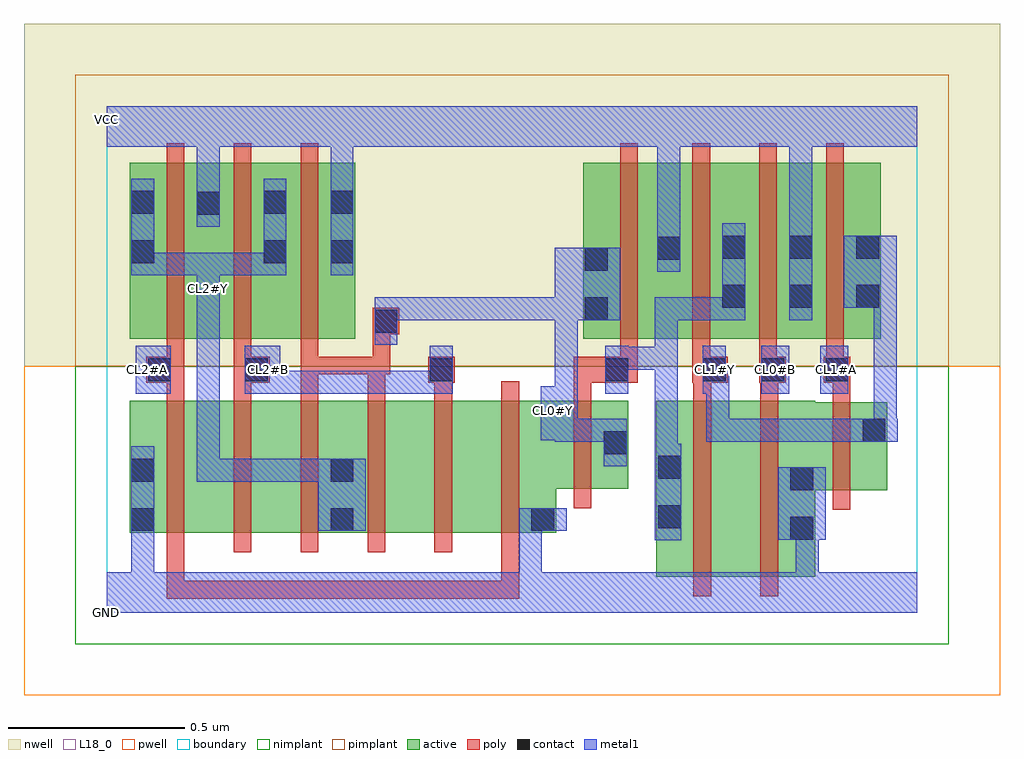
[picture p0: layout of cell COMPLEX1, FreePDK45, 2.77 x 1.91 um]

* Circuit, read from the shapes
.subckt COMPLEX1 CL0#B CL0#Y CL1#A CL1#Y CL2#A CL2#B CL2#Y GND VCC
M1 n1 CL2#A GND VSUBS nfet w=0.375u l=0.05u
M2 n2 CL2#B n1 VSUBS nfet w=0.375u l=0.05u
M3 CL2#Y CL0#Y n2 VSUBS nfet w=0.375u l=0.05u
M4 n3 CL0#Y CL2#Y VSUBS nfet w=0.375u l=0.05u
M5 n4 CL2#B n3 VSUBS nfet w=0.375u l=0.05u
M6 GND CL2#A n4 VSUBS nfet w=0.375u l=0.05u
M7 CL0#Y n5 GND VSUBS nfet w=0.25u l=0.05u
M8 n6 CL1#Y n5 VSUBS nfet w=0.5u l=0.05u
M9 GND CL0#B n6 VSUBS nfet w=0.5u l=0.05u
M10 CL1#Y CL1#A GND VSUBS nfet w=0.25u l=0.05u
M11 VCC CL2#A CL2#Y n7 pfet w=0.5u l=0.05u
M12 CL2#Y CL2#B VCC n7 pfet w=0.5u l=0.05u
M13 VCC CL0#Y CL2#Y n7 pfet w=0.5u l=0.05u
M14 VCC n5 CL0#Y n7 pfet w=0.5u l=0.05u
M15 n5 CL1#Y VCC n7 pfet w=0.5u l=0.05u
M16 VCC CL0#B n5 n7 pfet w=0.5u l=0.05u
M17 CL1#Y CL1#A VCC n7 pfet w=0.5u l=0.05u
.ends

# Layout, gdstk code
import gdstk
lib = gdstk.Library(unit=1e-6, precision=1e-09)
def R(c, l, rs):  # rectangles x0, y0, x1, y1
    for r in rs: c.add(gdstk.rectangle(r[:2], r[2:], *l))
def A(c, l, x, y, w, h, nx, ny, dx, dy):  # array of equal rectangles
    R(c, l, [(x+i*dx, y+j*dy, x+i*dx+w, y+j*dy+h) for i in range(nx) for j in range(ny)])
active = (1, 0)
pwell = (2, 0)
nwell = (3, 0)
nimplant = (4, 0)
pimplant = (5, 0)
poly = (9, 0)
contact = (10, 0)
metal1 = (11, 0)
L18_0 = (18, 0)
boundary = (235, 0)

complex1 = lib.new_cell('COMPLEX1')
R(complex1, active, [(1.56,0.102,1.785,0.602), (1.785,0.102,2.01,0.602), (1.935,0.102,2.01,0.5), (1.56,0.145,1.665,0.602), (0.065,0.227,0.29,0.602), (0.065,0.227,0.14,0.602), (0.29,0.227,0.48,0.602), (0.48,0.227,0.705,0.602), (0.63,0.227,0.86,0.602), (0.63,0.227,0.705,0.592), (0.86,0.227,1.05,0.602), (1.05,0.227,1.275,0.602), (1.2,0.227,1.275,0.535), (1.935,0.347,2.215,0.597), (2.14,0.347,2.215,0.597), (1.2,0.352,1.48,0.602), (1.405,0.352,1.48,0.602), (0.065,0.777,0.14,1.237), (0.065,0.777,0.325,1.277), (0.25,0.777,0.515,1.277), (0.44,0.777,0.515,1.237), (0.44,0.777,0.705,1.277), (0.63,0.777,0.705,1.267), (1.352,0.777,1.427,1.237), (1.352,0.777,1.632,1.277), (1.557,0.777,1.817,1.277), (1.742,0.777,2.007,1.277), (1.932,0.777,2.197,1.277), (1.932,0.777,2.007,1.255), (2.122,0.777,2.197,1.237), (0.25,0.845,0.325,1.255), (1.557,0.845,1.632,1.255), (1.742,0.845,1.817,1.237)])
R(complex1, pwell, [(-0.235,-0.235,2.535,0.7)])
R(complex1, nwell, [(-0.235,0.7,2.535,1.672)])
R(complex1, nimplant, [(-0.09,-0.09,2.39,0.7)])
R(complex1, pimplant, [(-0.09,0.7,2.39,1.527)])
A(complex1, poly, 0.17, 0.172, 0.05, 0.485, 6, 1, 0.19, 0)
A(complex1, poly, 0.17, 0.677, 0.05, 0.095, 3, 1, 0.19, 0)
A(complex1, poly, 1.662, 0.677, 0.05, 0.095, 3, 1, 0.19, 0)
A(complex1, poly, 0.17, 0.722, 0.05, 0.61, 3, 1, 0.19, 0)
A(complex1, poly, 1.662, 0.722, 0.05, 0.61, 3, 1, 0.19, 0)
R(complex1, poly, [(0.17,0.04,0.22,0.222), (0.17,0.04,0.22,0.09), (0.17,0.04,0.22,0.09), (0.17,0.04,0.22,0.09), (0.17,0.04,0.352,0.09), (0.302,0.04,0.352,0.09), (0.302,0.04,0.352,0.09), (0.302,0.04,0.352,0.09), (0.302,0.04,0.595,0.09), (0.545,0.04,0.595,0.09), (0.545,0.04,0.595,0.09), (0.545,0.04,0.595,0.09), (0.545,0.04,0.83,0.09), (0.78,0.04,0.83,0.09), (0.78,0.04,0.83,0.09), (0.78,0.04,0.83,0.09), (0.78,0.04,0.962,0.09), (0.912,0.04,0.962,0.09), (0.912,0.04,1.17,0.09), (1.12,0.04,1.17,0.222), (1.12,0.04,1.17,0.09), (1.12,0.04,1.17,0.09), (1.12,0.04,1.17,0.09), (1.665,0.047,1.715,0.657), (1.855,0.047,1.905,0.657), (2.06,0.292,2.11,0.652), (1.325,0.297,1.375,0.657), (2.06,0.602,2.11,0.702), (0.17,0.607,0.22,0.702), (0.36,0.607,0.41,0.702), (0.55,0.607,0.6,0.727), (0.74,0.607,0.79,0.727), (0.93,0.607,0.98,0.702), (1.325,0.607,1.375,0.702), (1.665,0.607,1.715,0.702), (1.855,0.607,1.905,0.702), (0.112,0.652,0.22,0.727), (0.36,0.652,0.462,0.727), (0.912,0.652,0.987,0.727), (1.325,0.652,1.507,0.727), (1.662,0.652,1.762,0.727), (1.852,0.652,1.927,0.727), (2.035,0.652,2.11,0.727), (0.55,0.677,0.6,0.727), (0.55,0.677,0.6,0.727), (0.55,0.677,0.6,0.727), (0.55,0.677,0.79,0.727), (0.74,0.677,0.805,0.727), (0.755,0.677,0.805,0.727), (0.755,0.677,0.805,0.727), (0.755,0.677,0.805,0.84), (1.457,0.677,1.507,0.772), (1.457,0.722,1.507,1.332), (0.755,0.79,0.83,0.865)])
A(complex1, contact, 1.747, 0.865, 0.065, 0.065, 3, 2, 0.19, 0.14)
R(complex1, contact, [(1.94,0.207,2.005,0.272), (0.07,0.232,0.135,0.297), (0.635,0.232,0.7,0.297), (1.205,0.232,1.27,0.297), (1.565,0.24,1.63,0.305), (1.94,0.347,2.005,0.412), (0.07,0.372,0.135,0.437), (0.635,0.372,0.7,0.437), (1.565,0.38,1.63,0.445), (1.41,0.45,1.475,0.515), (2.145,0.485,2.21,0.55), (0.117,0.657,0.182,0.722), (0.392,0.657,0.457,0.722), (0.917,0.657,0.982,0.722), (1.415,0.657,1.48,0.722), (1.692,0.657,1.757,0.722), (1.857,0.657,1.922,0.722), (2.04,0.657,2.105,0.722), (0.76,0.795,0.825,0.86), (1.357,0.83,1.422,0.895), (1.357,0.97,1.422,1.035), (0.07,0.992,0.135,1.057), (0.445,0.992,0.51,1.057), (0.635,0.992,0.7,1.057), (1.562,1.002,1.627,1.067), (0.255,1.13,0.32,1.195), (0.07,1.132,0.135,1.197), (0.445,1.132,0.51,1.197), (0.635,1.132,0.7,1.197)])
R(complex1, metal1, [(0,0,2.3,0.115), (0.07,0.05,0.135,0.115), (0.07,0.05,0.135,0.115), (0.07,0.05,0.135,0.262), (1.17,0.05,1.235,0.115), (1.17,0.05,1.235,0.115), (1.17,0.05,1.235,0.297), (1.955,0.05,2.02,0.115), (1.955,0.05,2.02,0.115), (1.955,0.05,2.02,0.272), (0.07,0.197,0.135,0.262), (0.07,0.197,0.135,0.262), (0.07,0.197,0.135,0.472), (1.555,0.205,1.63,0.48), (1.905,0.207,2.04,0.412), (0.6,0.232,0.735,0.437), (1.17,0.232,1.235,0.297), (1.17,0.232,1.235,0.297), (1.17,0.232,1.305,0.297), (0.255,0.372,0.32,0.437), (0.255,0.372,0.527,0.437), (0.255,0.372,0.32,0.917), (0.462,0.372,0.527,0.437), (0.462,0.372,0.527,0.437), (0.462,0.372,0.527,0.437), (0.462,0.372,0.665,0.437), (0.6,0.372,0.665,0.437), (0.6,0.372,0.665,0.437), (1.41,0.415,1.475,0.55), (1.555,0.415,1.62,0.755), (1.272,0.485,1.475,0.55), (1.272,0.485,1.337,0.555), (1.41,0.485,1.475,0.55), (1.41,0.485,1.475,0.55), (1.702,0.485,1.767,0.55), (1.702,0.485,1.952,0.55), (1.702,0.485,1.767,0.687), (1.887,0.485,1.952,0.55), (1.887,0.485,1.952,0.55), (1.887,0.485,1.952,0.55), (1.887,0.485,2.175,0.55), (2.11,0.485,2.175,0.55), (2.11,0.485,2.175,0.55), (2.11,0.485,2.245,0.55), (2.177,0.485,2.242,0.93), (1.232,0.49,1.337,0.642), (1.272,0.49,1.337,0.555), (1.272,0.577,1.337,0.895), (0.082,0.622,0.182,0.757), (0.392,0.622,0.492,0.757), (0.427,0.622,0.492,0.687), (0.427,0.622,0.492,0.687), (0.427,0.622,0.665,0.687), (0.6,0.622,0.665,0.687), (0.6,0.622,0.665,0.687), (0.6,0.622,0.665,0.687), (0.6,0.622,0.845,0.687), (0.78,0.622,0.845,0.687), (0.78,0.622,0.845,0.687), (0.78,0.622,0.845,0.687), (0.78,0.622,0.982,0.687), (0.917,0.622,0.982,0.757), (1.415,0.622,1.48,0.757), (1.692,0.622,1.767,0.687), (1.692,0.622,1.757,0.757), (1.702,0.622,1.767,0.687), (1.857,0.622,1.937,0.757), (2.025,0.622,2.105,0.757), (1.415,0.69,1.515,0.755), (1.45,0.69,1.515,0.755), (1.45,0.69,1.62,0.755), (1.555,0.69,1.62,0.755), (1.555,0.69,1.62,0.895), (0.76,0.76,0.825,0.895), (0.76,0.83,0.825,0.895), (0.76,0.83,0.825,0.895), (0.76,0.83,0.825,0.895), (0.76,0.83,0.825,0.895), (0.76,0.83,1.097,0.895), (1.032,0.83,1.097,0.895), (1.032,0.83,1.097,0.895), (1.032,0.83,1.097,0.895), (1.032,0.83,1.337,0.895), (1.272,0.83,1.337,0.895), (1.272,0.83,1.337,0.895), (1.272,0.83,1.457,1.035), (1.555,0.83,1.62,0.895), (1.555,0.83,1.652,0.895), (1.587,0.83,1.652,0.895), (1.587,0.83,1.812,0.895), (1.747,0.83,1.812,1.105), (1.937,0.83,2.002,1.105), (0.255,0.852,0.32,0.987), (2.092,0.865,2.242,1.07), (2.177,0.865,2.242,0.93), (2.177,0.865,2.242,0.93), (0.255,0.922,0.32,1.022), (0.07,0.957,0.135,1.232), (0.07,0.957,0.3,1.022), (0.235,0.957,0.32,1.022), (0.255,0.957,0.32,1.022), (0.255,0.957,0.32,1.022), (0.255,0.957,0.51,1.022), (0.445,0.957,0.51,1.022), (0.445,0.957,0.51,1.022), (0.445,0.957,0.51,1.232), (0.635,0.957,0.7,1.232), (1.562,0.967,1.627,1.102), (1.562,1.037,1.627,1.387), (1.937,1.04,2.002,1.105), (1.937,1.04,2.002,1.105), (1.937,1.04,2.002,1.387), (0.255,1.095,0.32,1.23), (0.255,1.165,0.32,1.387), (0.635,1.167,0.7,1.387), (0,1.322,2.3,1.437), (0.255,1.322,0.32,1.387), (0.255,1.322,0.32,1.387), (0.635,1.322,0.7,1.387), (0.635,1.322,0.7,1.387), (1.562,1.322,1.627,1.387), (1.562,1.322,1.627,1.387)])
R(complex1, L18_0, [(0,0,2.3,0.115), (0.07,0.05,0.135,0.115), (0.07,0.05,0.135,0.115), (0.07,0.05,0.135,0.262), (1.17,0.05,1.235,0.115), (1.17,0.05,1.235,0.115), (1.17,0.05,1.235,0.297), (1.955,0.05,2.02,0.115), (1.955,0.05,2.02,0.115), (1.955,0.05,2.02,0.272), (0.07,0.197,0.135,0.262), (0.07,0.197,0.135,0.262), (0.07,0.197,0.135,0.472), (1.905,0.207,2.04,0.412), (0.6,0.232,0.735,0.437), (1.17,0.232,1.235,0.297), (1.17,0.232,1.235,0.297), (1.17,0.232,1.305,0.297), (0.255,0.372,0.32,0.437), (0.255,0.372,0.32,0.917), (0.255,0.372,0.527,0.437), (0.462,0.372,0.527,0.437), (0.462,0.372,0.527,0.437), (0.462,0.372,0.527,0.437), (0.462,0.372,0.665,0.437), (0.6,0.372,0.665,0.437), (0.6,0.372,0.665,0.437), (1.41,0.415,1.475,0.55), (1.272,0.485,1.475,0.55), (1.272,0.485,1.337,0.555), (1.41,0.485,1.475,0.55), (1.41,0.485,1.475,0.55), (1.702,0.485,1.767,0.55), (1.702,0.485,1.767,0.687), (1.702,0.485,1.952,0.55), (1.887,0.485,1.952,0.55), (1.887,0.485,1.952,0.55), (1.887,0.485,1.952,0.55), (1.887,0.485,2.175,0.55), (2.11,0.485,2.175,0.55), (2.11,0.485,2.175,0.55), (2.11,0.485,2.245,0.55), (2.177,0.485,2.242,0.93), (1.232,0.49,1.337,0.642), (1.272,0.49,1.337,0.555), (1.232,0.542,1.297,0.607), (1.272,0.577,1.337,0.895), (0.082,0.622,0.182,0.757), (0.392,0.622,0.492,0.757), (0.427,0.622,0.492,0.687), (0.427,0.622,0.492,0.687), (0.427,0.622,0.665,0.687), (0.6,0.622,0.665,0.687), (0.6,0.622,0.665,0.687), (0.6,0.622,0.665,0.687), (0.6,0.622,0.845,0.687), (0.78,0.622,0.845,0.687), (0.78,0.622,0.845,0.687), (0.78,0.622,0.845,0.687), (0.78,0.622,0.982,0.687), (0.917,0.622,0.982,0.757), (1.692,0.622,1.757,0.757), (1.692,0.622,1.767,0.687), (1.702,0.622,1.767,0.687), (1.857,0.622,1.937,0.757), (2.025,0.622,2.105,0.757), (0.082,0.657,0.147,0.722), (0.427,0.657,0.492,0.722), (1.692,0.657,1.757,0.722), (1.865,0.657,1.93,0.722), (2.037,0.657,2.102,0.722), (0.76,0.76,0.825,0.895), (0.76,0.83,0.825,0.895), (0.76,0.83,0.825,0.895), (0.76,0.83,0.825,0.895), (0.76,0.83,0.825,0.895), (0.76,0.83,1.097,0.895), (1.032,0.83,1.097,0.895), (1.032,0.83,1.097,0.895), (1.032,0.83,1.097,0.895), (1.032,0.83,1.337,0.895), (1.272,0.83,1.337,0.895), (1.272,0.83,1.337,0.895), (1.272,0.83,1.457,1.035), (1.937,0.83,2.002,1.105), (0.255,0.852,0.32,0.987), (2.092,0.865,2.242,1.07), (2.177,0.865,2.242,0.93), (2.177,0.865,2.242,0.93), (0.255,0.887,0.32,0.952), (0.255,0.922,0.32,1.022), (0.07,0.957,0.135,1.232), (0.07,0.957,0.3,1.022), (0.235,0.957,0.32,1.022), (0.255,0.957,0.32,1.022), (0.255,0.957,0.32,1.022), (0.255,0.957,0.51,1.022), (0.445,0.957,0.51,1.022), (0.445,0.957,0.51,1.022), (0.445,0.957,0.51,1.232), (0.635,0.957,0.7,1.232), (1.562,0.967,1.627,1.102), (1.562,1.037,1.627,1.387), (1.937,1.04,2.002,1.105), (1.937,1.04,2.002,1.105), (1.937,1.04,2.002,1.387), (0.255,1.095,0.32,1.23), (0.255,1.165,0.32,1.387), (0.635,1.167,0.7,1.387), (0,1.322,2.3,1.437), (0.255,1.322,0.32,1.387), (0.255,1.322,0.32,1.387), (0.635,1.322,0.7,1.387), (0.635,1.322,0.7,1.387), (1.562,1.322,1.627,1.387), (1.562,1.322,1.627,1.387)])
R(complex1, boundary, [(0,0,2.3,1.437)])
complex1.add(gdstk.Label('CL0#B', (1.897,0.69), layer=11, texttype=0))
complex1.add(gdstk.Label('CL0#Y', (1.265,0.575), layer=11, texttype=0))
complex1.add(gdstk.Label('CL1#A', (2.07,0.69), layer=11, texttype=0))
complex1.add(gdstk.Label('CL1#Y', (1.725,0.69), layer=11, texttype=0))
complex1.add(gdstk.Label('CL2#A', (0.115,0.69), layer=11, texttype=0))
complex1.add(gdstk.Label('CL2#B', (0.46,0.69), layer=11, texttype=0))
complex1.add(gdstk.Label('CL2#Y', (0.287,0.92), layer=11, texttype=0))
complex1.add(gdstk.Label('VCC', (0,1.4), layer=11, texttype=0))
complex1.add(gdstk.Label('GND', (0,0), layer=11, texttype=0))

lib.write_gds('COMPLEX1.gds')
